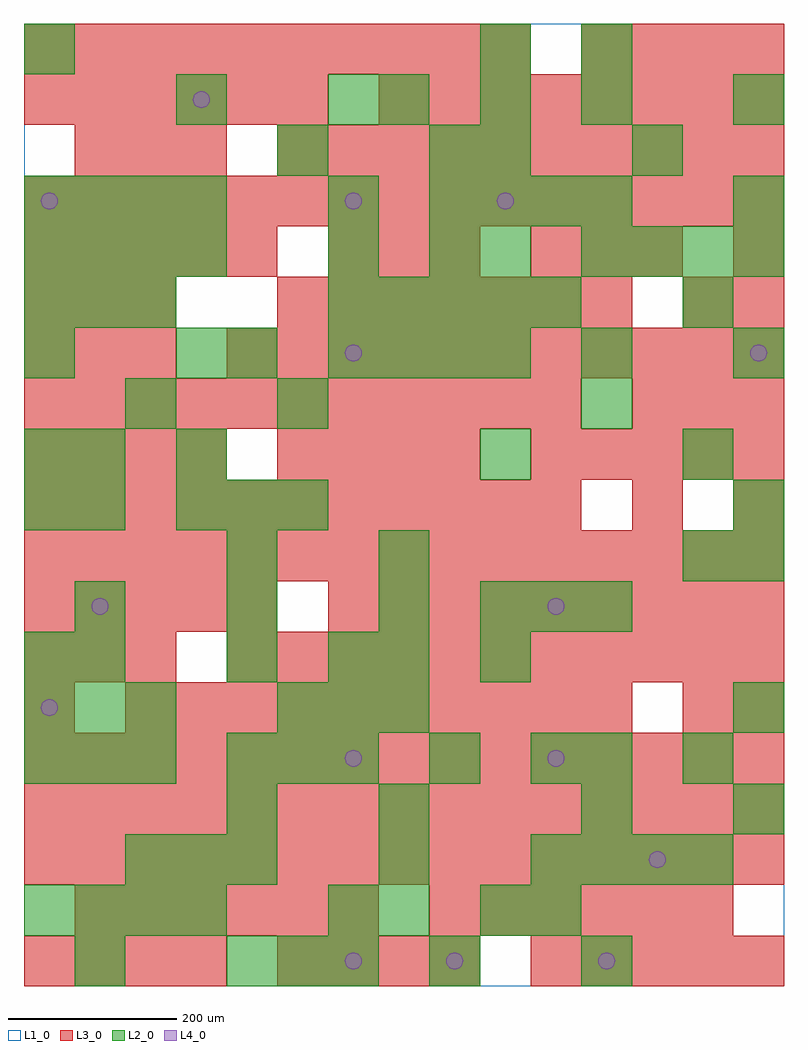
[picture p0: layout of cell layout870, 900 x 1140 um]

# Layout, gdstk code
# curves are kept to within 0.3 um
import gdstk
lib = gdstk.Library(unit=1e-6, precision=1e-09)
def R(c, l, rs):  # rectangles x0, y0, x1, y1
    for r in rs: c.add(gdstk.rectangle(r[:2], r[2:], *l))
def A(c, l, x, y, w, h, nx, ny, dx, dy):  # array of equal rectangles
    R(c, l, [(x+i*dx, y+j*dy, x+i*dx+w, y+j*dy+h) for i in range(nx) for j in range(ny)])
def P(c, l, *ps):  # polygons
    for p in ps: c.add(gdstk.Polygon(p, *l))
L1_0 = (1, 0)
L2_0 = (2, 0)
L3_0 = (3, 0)
L4_0 = (4, 0)

layout870 = lib.new_cell('layout870')
R(layout870, L1_0, [(0,0,900,1140)])
A(layout870, L2_0, 240, 0, 60, 60, 3, 2, 60, 240)
A(layout870, L2_0, 0, 60, 60, 60, 4, 2, 60, 780)
A(layout870, L2_0, 420, 60, 60, 60, 1, 3, 0, 60)
A(layout870, L2_0, 120, 120, 60, 60, 3, 1, 60, 0)
A(layout870, L2_0, 600, 120, 60, 60, 4, 1, 60, 0)
A(layout870, L2_0, 0, 240, 60, 60, 3, 2, 60, 60)
A(layout870, L2_0, 300, 300, 60, 60, 3, 1, 60, 0)
A(layout870, L2_0, 540, 360, 60, 60, 1, 3, 0, 240)
A(layout870, L2_0, 60, 420, 60, 60, 3, 1, 180, 0)
A(layout870, L2_0, 540, 420, 60, 60, 3, 1, 60, 0)
A(layout870, L2_0, 180, 540, 60, 60, 3, 1, 60, 0)
A(layout870, L2_0, 840, 540, 60, 60, 1, 3, 0, 180)
A(layout870, L2_0, 360, 720, 60, 60, 4, 1, 60, 0)
A(layout870, L2_0, 0, 780, 60, 60, 3, 1, 60, 0)
A(layout870, L2_0, 360, 780, 60, 60, 5, 1, 60, 0)
A(layout870, L2_0, 660, 840, 60, 60, 4, 1, 60, 0)
A(layout870, L2_0, 0, 900, 60, 60, 4, 1, 60, 0)
A(layout870, L2_0, 480, 900, 60, 60, 4, 1, 60, 0)
A(layout870, L2_0, 420, 1020, 60, 60, 3, 1, 120, 0)
R(layout870, L2_0, [(60,0,120,60), (480,0,540,60), (660,0,720,60), (360,60,420,120), (540,60,600,120), (600,60,660,120), (240,180,300,240), (660,180,720,240), (840,180,900,240), (480,240,540,300), (600,240,660,300), (660,240,720,300), (780,240,840,300), (840,300,900,360), (0,360,60,420), (60,360,120,420), (240,360,300,420), (360,360,420,420), (420,360,480,420), (240,480,300,540), (420,480,480,540), (780,480,840,540), (840,480,900,540), (0,540,60,600), (60,540,120,600), (0,600,60,660), (60,600,120,660), (180,600,240,660), (780,600,840,660), (120,660,180,720), (300,660,360,720), (660,660,720,720), (0,720,60,780), (180,720,240,780), (240,720,300,780), (660,720,720,780), (780,780,840,840), (360,840,420,900), (480,840,540,900), (360,900,420,960), (300,960,360,1020), (480,960,540,1020), (540,960,600,1020), (720,960,780,1020), (180,1020,240,1080), (360,1020,420,1080), (840,1020,900,1080), (0,1080,60,1140), (540,1080,600,1140), (660,1080,720,1140)])
A(layout870, L3_0, 0, 0, 60, 60, 4, 2, 60, 600)
A(layout870, L3_0, 300, 0, 60, 60, 4, 2, 60, 600)
A(layout870, L3_0, 600, 0, 60, 60, 5, 2, 60, 600)
A(layout870, L3_0, 60, 60, 60, 60, 6, 1, 60, 0)
A(layout870, L3_0, 480, 60, 60, 60, 6, 1, 60, 0)
A(layout870, L3_0, 0, 120, 60, 60, 15, 3, 60, 60)
A(layout870, L3_0, 120, 300, 60, 60, 10, 1, 60, 0)
A(layout870, L3_0, 840, 300, 60, 60, 1, 3, 0, 240)
A(layout870, L3_0, 0, 360, 60, 60, 3, 2, 60, 360)
A(layout870, L3_0, 240, 360, 60, 60, 11, 2, 60, 360)
A(layout870, L3_0, 0, 420, 60, 60, 5, 2, 60, 420)
A(layout870, L3_0, 360, 420, 60, 60, 9, 1, 60, 0)
A(layout870, L3_0, 0, 480, 60, 60, 15, 2, 60, 420)
A(layout870, L3_0, 0, 540, 60, 60, 11, 2, 60, 120)
A(layout870, L3_0, 720, 660, 60, 60, 3, 1, 60, 0)
A(layout870, L3_0, 0, 780, 60, 60, 3, 1, 60, 0)
A(layout870, L3_0, 300, 780, 60, 60, 7, 1, 60, 0)
A(layout870, L3_0, 360, 840, 60, 60, 3, 1, 60, 0)
A(layout870, L3_0, 600, 840, 60, 60, 3, 1, 60, 0)
A(layout870, L3_0, 60, 960, 60, 60, 3, 1, 60, 0)
A(layout870, L3_0, 300, 960, 60, 60, 10, 1, 60, 0)
A(layout870, L3_0, 0, 1020, 60, 60, 6, 1, 60, 0)
A(layout870, L3_0, 420, 1020, 60, 60, 8, 1, 60, 0)
A(layout870, L3_0, 0, 1080, 60, 60, 10, 1, 60, 0)
A(layout870, L3_0, 660, 1080, 60, 60, 4, 1, 60, 0)
R(layout870, L3_0, [(0,300,60,360), (780,300,840,360), (720,540,780,600), (780,780,840,840), (840,840,900,900)])
P(layout870, L4_0, [(40,330),(39.239,333.827),(37.071,337.071),(33.827,339.239),(30,340),(26.173,339.239),(22.929,337.071),(20.761,333.827),(20,330),(20.761,326.173),(22.929,322.929),(26.173,320.761),(30,320),(33.827,320.761),(37.071,322.929),(39.239,326.173)],
  [(40,930),(39.239,933.827),(37.071,937.071),(33.827,939.239),(30,940),(26.173,939.239),(22.929,937.071),(20.761,933.827),(20,930),(20.761,926.173),(22.929,922.929),(26.173,920.761),(30,920),(33.827,920.761),(37.071,922.929),(39.239,926.173)],
  [(100,450),(99.239,453.827),(97.071,457.071),(93.827,459.239),(90,460),(86.173,459.239),(82.929,457.071),(80.761,453.827),(80,450),(80.761,446.173),(82.929,442.929),(86.173,440.761),(90,440),(93.827,440.761),(97.071,442.929),(99.239,446.173)],
  [(220,1050),(219.239,1053.827),(217.071,1057.071),(213.827,1059.239),(210,1060),(206.173,1059.239),(202.929,1057.071),(200.761,1053.827),(200,1050),(200.761,1046.173),(202.929,1042.929),(206.173,1040.761),(210,1040),(213.827,1040.761),(217.071,1042.929),(219.239,1046.173)],
  [(400,30),(399.239,33.827),(397.071,37.071),(393.827,39.239),(390,40),(386.173,39.239),(382.929,37.071),(380.761,33.827),(380,30),(380.761,26.173),(382.929,22.929),(386.173,20.761),(390,20),(393.827,20.761),(397.071,22.929),(399.239,26.173)],
  [(400,270),(399.239,273.827),(397.071,277.071),(393.827,279.239),(390,280),(386.173,279.239),(382.929,277.071),(380.761,273.827),(380,270),(380.761,266.173),(382.929,262.929),(386.173,260.761),(390,260),(393.827,260.761),(397.071,262.929),(399.239,266.173)],
  [(400,750),(399.239,753.827),(397.071,757.071),(393.827,759.239),(390,760),(386.173,759.239),(382.929,757.071),(380.761,753.827),(380,750),(380.761,746.173),(382.929,742.929),(386.173,740.761),(390,740),(393.827,740.761),(397.071,742.929),(399.239,746.173)],
  [(400,930),(399.239,933.827),(397.071,937.071),(393.827,939.239),(390,940),(386.173,939.239),(382.929,937.071),(380.761,933.827),(380,930),(380.761,926.173),(382.929,922.929),(386.173,920.761),(390,920),(393.827,920.761),(397.071,922.929),(399.239,926.173)],
  [(520,30),(519.239,33.827),(517.071,37.071),(513.827,39.239),(510,40),(506.173,39.239),(502.929,37.071),(500.761,33.827),(500,30),(500.761,26.173),(502.929,22.929),(506.173,20.761),(510,20),(513.827,20.761),(517.071,22.929),(519.239,26.173)],
  [(580,930),(579.239,933.827),(577.071,937.071),(573.827,939.239),(570,940),(566.173,939.239),(562.929,937.071),(560.761,933.827),(560,930),(560.761,926.173),(562.929,922.929),(566.173,920.761),(570,920),(573.827,920.761),(577.071,922.929),(579.239,926.173)],
  [(640,270),(639.239,273.827),(637.071,277.071),(633.827,279.239),(630,280),(626.173,279.239),(622.929,277.071),(620.761,273.827),(620,270),(620.761,266.173),(622.929,262.929),(626.173,260.761),(630,260),(633.827,260.761),(637.071,262.929),(639.239,266.173)],
  [(640,450),(639.239,453.827),(637.071,457.071),(633.827,459.239),(630,460),(626.173,459.239),(622.929,457.071),(620.761,453.827),(620,450),(620.761,446.173),(622.929,442.929),(626.173,440.761),(630,440),(633.827,440.761),(637.071,442.929),(639.239,446.173)],
  [(700,30),(699.239,33.827),(697.071,37.071),(693.827,39.239),(690,40),(686.173,39.239),(682.929,37.071),(680.761,33.827),(680,30),(680.761,26.173),(682.929,22.929),(686.173,20.761),(690,20),(693.827,20.761),(697.071,22.929),(699.239,26.173)],
  [(760,150),(759.239,153.827),(757.071,157.071),(753.827,159.239),(750,160),(746.173,159.239),(742.929,157.071),(740.761,153.827),(740,150),(740.761,146.173),(742.929,142.929),(746.173,140.761),(750,140),(753.827,140.761),(757.071,142.929),(759.239,146.173)],
  [(880,750),(879.239,753.827),(877.071,757.071),(873.827,759.239),(870,760),(866.173,759.239),(862.929,757.071),(860.761,753.827),(860,750),(860.761,746.173),(862.929,742.929),(866.173,740.761),(870,740),(873.827,740.761),(877.071,742.929),(879.239,746.173)])

lib.write_gds('layout870.gds')
